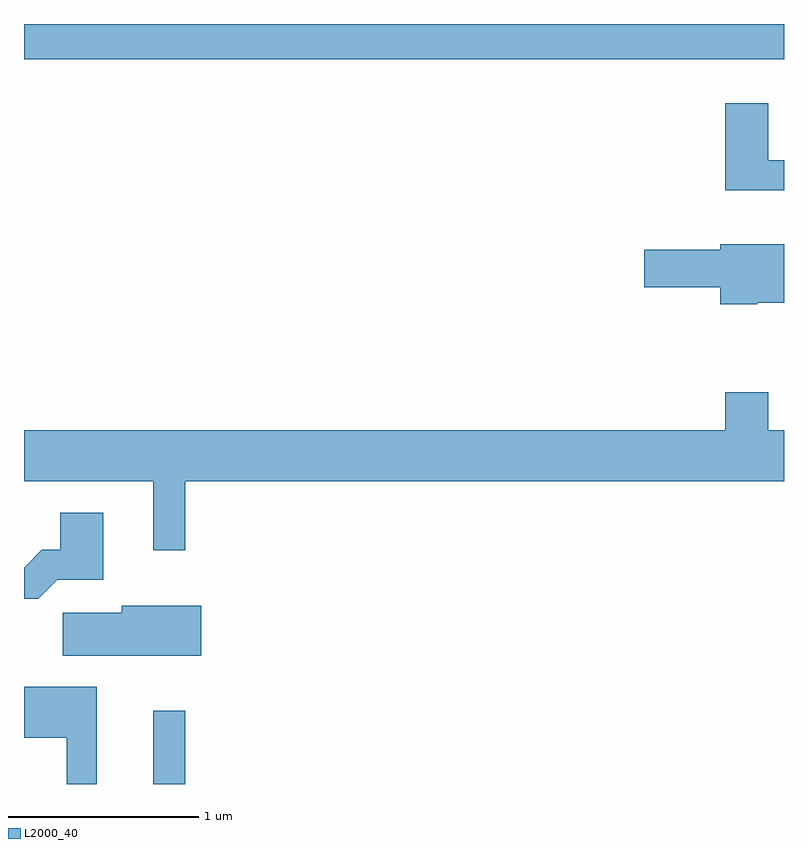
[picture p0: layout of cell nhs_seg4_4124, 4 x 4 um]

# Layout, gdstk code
import gdstk
lib = gdstk.Library(unit=1e-6, precision=1e-09)
def R(c, l, rs):  # rectangles x0, y0, x1, y1
    for r in rs: c.add(gdstk.rectangle(r[:2], r[2:], *l))
def P(c, l, *ps):  # polygons
    for p in ps: c.add(gdstk.Polygon(p, *l))
L2000_40 = (2000, 40)

nhs_seg4_4124 = lib.new_cell('nhs_seg4_4124')
R(nhs_seg4_4124, L2000_40, [(306.291,1341.982,306.459,1342.368), (305.611,1345.796,309.611,1345.982)])
P(nhs_seg4_4124, L2000_40, [(309.611,1345.264),(309.529,1345.264),(309.529,1345.564),(309.301,1345.564),(309.301,1345.106),(309.611,1345.106)],
  [(309.47,1344.516),(309.611,1344.516),(309.611,1344.824),(309.276,1344.824),(309.276,1344.794),(308.876,1344.794),(308.876,1344.596),(309.276,1344.596),(309.276,1344.506),(309.47,1344.506)],
  [(306.459,1343.576),(309.611,1343.576),(309.611,1343.844),(309.529,1343.844),(309.529,1344.044),(309.301,1344.044),(309.301,1343.844),(305.611,1343.844),(305.611,1343.576),(306.291,1343.576),(306.291,1343.213),(306.459,1343.213)],
  [(305.787,1343.056),(306.029,1343.056),(306.029,1343.409),(305.801,1343.409),(305.801,1343.214),(305.704,1343.214),(305.611,1343.121),(305.611,1342.956),(305.687,1342.956)],
  [(306.544,1342.919),(306.126,1342.919),(306.126,1342.884),(305.816,1342.884),(305.816,1342.656),(306.544,1342.656)],
  [(305.994,1342.494),(305.611,1342.494),(305.611,1342.226),(305.836,1342.226),(305.836,1341.982),(305.994,1341.982)])

lib.write_gds('nhs_seg4_4124.gds')
